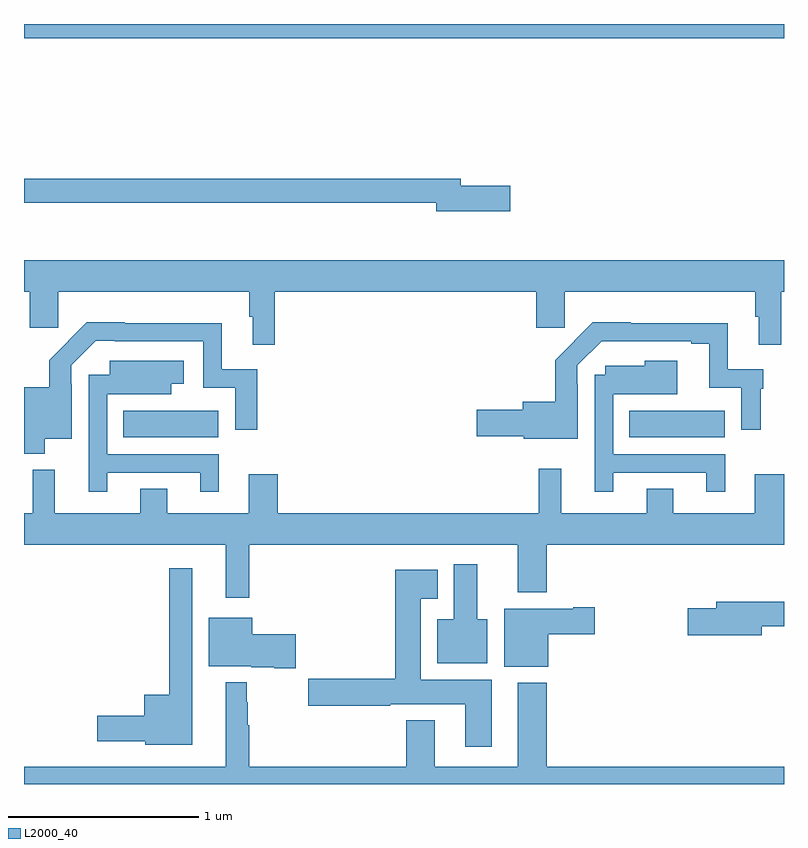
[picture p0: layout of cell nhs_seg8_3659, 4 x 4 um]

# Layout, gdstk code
import gdstk
lib = gdstk.Library(unit=1e-6, precision=1e-09)
def R(c, l, rs):  # rectangles x0, y0, x1, y1
    for r in rs: c.add(gdstk.rectangle(r[:2], r[2:], *l))
def P(c, l, *ps):  # polygons
    for p in ps: c.add(gdstk.Polygon(p, *l))
L2000_40 = (2000, 40)

nhs_seg8_3659 = lib.new_cell('nhs_seg8_3659')
R(nhs_seg8_3659, L2000_40, [(337.522,1123.724,338.023,1123.864), (340.186,1123.724,340.687,1123.864), (337,1125.824,341,1125.9)])
P(nhs_seg8_3659, L2000_40, [(339.559,1125.05),(339.298,1125.05),(339.298,1125.086),(337,1125.086),(337,1124.958),(339.17,1124.958),(339.17,1124.915),(339.559,1124.915)],
  [(338.321,1124.492),(339.695,1124.492),(339.695,1124.301),(339.845,1124.301),(339.845,1124.492),(340.849,1124.492),(340.849,1124.36),(340.868,1124.36),(340.868,1124.211),(340.985,1124.211),(340.985,1124.492),(341,1124.492),(341,1124.656),(337,1124.656),(337,1124.492),(337.031,1124.492),(337.031,1124.301),(337.181,1124.301),(337.181,1124.492),(338.185,1124.492),(338.185,1124.36),(338.204,1124.36),(338.204,1124.211),(338.321,1124.211)],
  [(339.915,1124.003),(339.912,1124.003),(339.912,1124.103),(340.04,1124.231),(340.141,1124.231),(340.141,1124.229),(340.511,1124.229),(340.511,1124.217),(340.607,1124.217),(340.607,1123.986),(340.776,1123.986),(340.776,1123.764),(340.877,1123.764),(340.877,1123.979),(340.892,1123.979),(340.892,1124.082),(340.705,1124.082),(340.705,1124.326),(340.193,1124.326),(340.193,1124.329),(339.994,1124.329),(339.797,1124.131),(339.797,1123.912),(339.626,1123.912),(339.626,1123.871),(339.384,1123.871),(339.384,1123.729),(339.63,1123.729),(339.63,1123.718),(339.915,1123.718)],
  [(337.108,1123.718),(337.251,1123.718),(337.251,1124.003),(337.248,1124.003),(337.248,1124.103),(337.377,1124.232),(337.477,1124.232),(337.477,1124.229),(337.944,1124.229),(337.944,1123.986),(338.112,1123.986),(338.112,1123.764),(338.228,1123.764),(338.228,1124.082),(338.041,1124.082),(338.041,1124.326),(337.529,1124.326),(337.529,1124.329),(337.33,1124.329),(337.133,1124.131),(337.133,1123.987),(337,1123.987),(337,1123.639),(337.108,1123.639)],
  [(340.102,1123.539),(340.592,1123.539),(340.592,1123.437),(340.69,1123.437),(340.69,1123.635),(340.101,1123.635),(340.101,1123.952),(340.438,1123.952),(340.438,1124.128),(340.266,1124.128),(340.266,1124.101),(340.059,1124.101),(340.059,1124.055),(340.005,1124.055),(340.005,1123.437),(340.102,1123.437)],
  [(337.438,1123.539),(337.928,1123.539),(337.928,1123.437),(338.026,1123.437),(338.026,1123.635),(337.437,1123.635),(337.437,1123.952),(337.774,1123.952),(337.774,1124.006),(337.84,1124.006),(337.84,1124.128),(337.451,1124.128),(337.451,1124.055),(337.341,1124.055),(337.341,1123.437),(337.438,1123.437)],
  [(338.185,1123.16),(339.599,1123.16),(339.599,1122.908),(339.752,1122.908),(339.752,1123.16),(341,1123.16),(341,1123.531),(340.847,1123.531),(340.847,1123.324),(340.417,1123.324),(340.417,1123.454),(340.277,1123.454),(340.277,1123.324),(339.827,1123.324),(339.827,1123.558),(339.709,1123.558),(339.709,1123.324),(338.336,1123.324),(338.336,1123.531),(338.183,1123.531),(338.183,1123.324),(337.753,1123.324),(337.753,1123.454),(337.613,1123.454),(337.613,1123.324),(337.163,1123.324),(337.163,1123.554),(337.045,1123.554),(337.045,1123.324),(337,1123.324),(337,1123.16),(338.063,1123.16),(338.063,1122.879),(338.185,1122.879)],
  [(339.439,1122.766),(339.385,1122.766),(339.385,1123.057),(339.263,1123.057),(339.263,1122.766),(339.176,1122.766),(339.176,1122.536),(339.439,1122.536)],
  [(337.885,1123.036),(337.764,1123.036),(337.764,1122.37),(337.634,1122.37),(337.634,1122.26),(337.386,1122.26),(337.386,1122.125),(337.638,1122.125),(337.638,1122.107),(337.885,1122.107)],
  [(339.463,1122.448),(339.088,1122.448),(339.088,1122.875),(339.178,1122.875),(339.178,1123.027),(338.954,1123.027),(338.954,1122.455),(338.608,1122.455),(338.608,1122.454),(338.496,1122.454),(338.496,1122.313),(338.927,1122.313),(338.927,1122.32),(339.323,1122.32),(339.323,1122.096),(339.463,1122.096)],
  [(340.882,1122.73),(341,1122.73),(341,1122.859),(340.643,1122.859),(340.643,1122.825),(340.494,1122.825),(340.494,1122.683),(340.882,1122.683)],
  [(339.76,1122.689),(340.003,1122.689),(340.003,1122.831),(339.89,1122.831),(339.89,1122.823),(339.527,1122.823),(339.527,1122.518),(339.76,1122.518)],
  [(338.431,1122.687),(338.2,1122.687),(338.2,1122.775),(337.973,1122.775),(337.973,1122.521),(338.196,1122.521),(338.196,1122.514),(338.318,1122.514),(338.318,1122.509),(338.431,1122.509)],
  [(338.173,1122.329),(338.173,1122.436),(338.063,1122.436),(338.063,1121.992),(337,1121.992),(337,1121.9),(341,1121.9),(341,1121.992),(339.752,1121.992),(339.752,1122.433),(339.599,1122.433),(339.599,1121.992),(339.163,1121.992),(339.163,1122.235),(339.011,1122.235),(339.011,1121.992),(338.185,1121.992),(338.185,1122.209),(338.177,1122.209),(338.177,1122.329)])

lib.write_gds('nhs_seg8_3659.gds')
